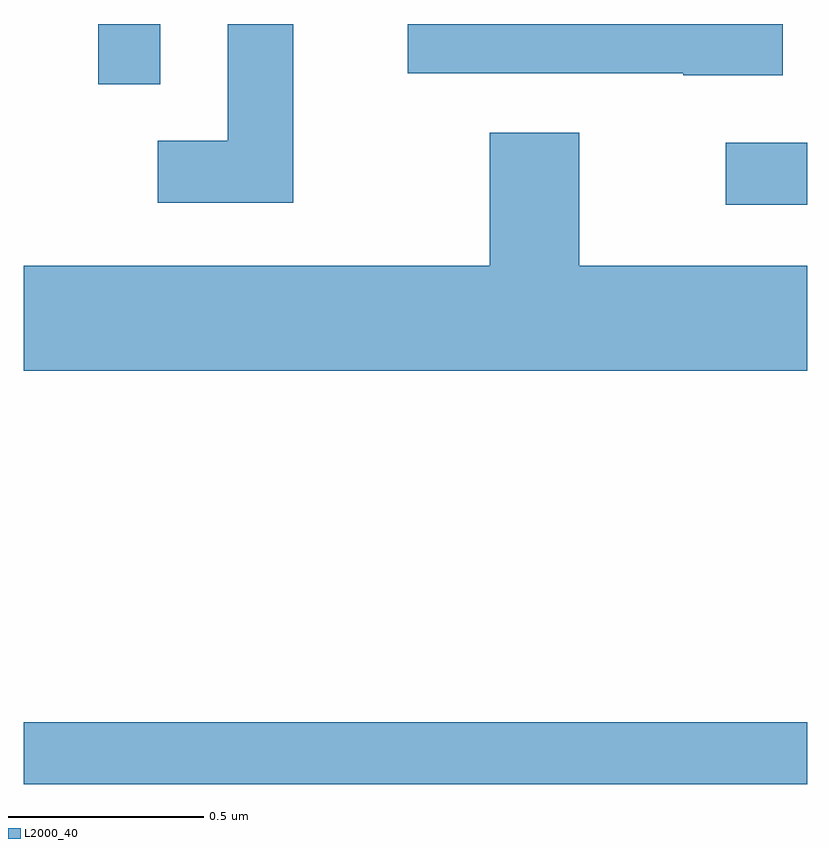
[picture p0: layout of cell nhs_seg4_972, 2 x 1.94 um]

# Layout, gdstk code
import gdstk
lib = gdstk.Library(unit=1e-6, precision=1e-09)
def R(c, l, rs):  # rectangles x0, y0, x1, y1
    for r in rs: c.add(gdstk.rectangle(r[:2], r[2:], *l))
def P(c, l, *ps):  # polygons
    for p in ps: c.add(gdstk.Polygon(p, *l))
L2000_40 = (2000, 40)

nhs_seg4_972 = lib.new_cell('nhs_seg4_972')
R(nhs_seg4_972, L2000_40, [(192.611,1267.041,194.611,1267.199), (194.403,1268.521,194.611,1268.679), (192.801,1268.828,192.959,1268.982)])
P(nhs_seg4_972, L2000_40, [(194.549,1268.982),(193.591,1268.982),(193.591,1268.856),(194.295,1268.856),(194.295,1268.851),(194.549,1268.851)],
  [(193.299,1268.982),(193.131,1268.982),(193.131,1268.684),(192.953,1268.684),(192.953,1268.526),(193.299,1268.526)],
  [(194.611,1268.364),(194.029,1268.364),(194.029,1268.704),(193.801,1268.704),(193.801,1268.364),(192.611,1268.364),(192.611,1268.096),(194.611,1268.096)])

lib.write_gds('nhs_seg4_972.gds')
